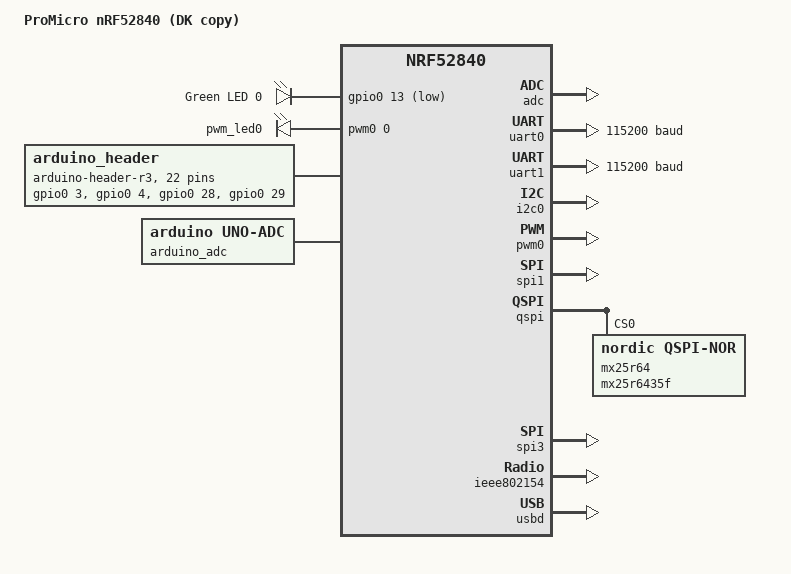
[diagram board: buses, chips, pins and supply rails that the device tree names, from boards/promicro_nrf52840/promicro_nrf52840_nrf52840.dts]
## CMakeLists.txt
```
cmake_minimum_required(VERSION 3.20.5)

find_package(Zephyr REQUIRED HINTS $ENV{ZEPHYR_BASE})
project(mcuboot_reset)


# Linker config for retained RAM
zephyr_linker_sources(SECTIONS src/reset/retained_ram.ld)

# Linker flag to wrap main(), allowing custom behavior
target_link_libraries(app PRIVATE "-Wl,--wrap=main")


FILE(GLOB app_sources src/*.c src/reset/reset_handler.c)
target_sources(app PRIVATE ${app_sources})
```

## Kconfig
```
# Copyright (c) 2021 Marcelo Aleksandravicius
# SPDX-License-Identifier: Apache-2.0

mainmenu "Promicro double-reset configs"


config DOUBLE_RESET_WINDOW_MS
	int "Double reset detection window in milliseconds"
	default 2000
	range 500 10000
	help
	  Time window in milliseconds to detect a double reset.


config DFU_LED_BLINK_PERIOD_MS
	int "LED blink period during DFU mode in milliseconds"
	default 100
	range 50 1000
	help
	  LED blink half-period in milliseconds during DFU mode.
	  Total blink period will be 2x this value.
	  Default 100ms = 5Hz blink rate (200ms total period).

config MAIN_WRAPPER_DELAY_MS
	int "Delay before calling real main() in milliseconds"
	default 12000
	range 0 60000
	help
	  Time to wait before calling the real main() function when using
	  the main wrapper. This allows the reset detection system to
	  complete its initialization and potentially enter DFU mode
	  before starting the main application logic.

source "Kconfig.zephyr"
```

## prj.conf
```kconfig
# =============================================================================
# BOOTLOADER AND FLASH
# =============================================================================
CONFIG_BOOTLOADER_MCUBOOT=y
CONFIG_FLASH=y
CONFIG_FLASH_MAP=y
CONFIG_STREAM_FLASH=y

# Disable QSPI to avoid JEDEC ID errors
CONFIG_NORDIC_QSPI_NOR=n

# =============================================================================
# MCUMGR CORE
# =============================================================================
CONFIG_MCUMGR=y
CONFIG_NET_BUF=y
CONFIG_ZCBOR=y
CONFIG_CRC=y
CONFIG_BASE64=y

# MCUMGR command groups
CONFIG_MCUMGR_GRP_IMG=y
CONFIG_MCUMGR_GRP_OS=y
CONFIG_MCUMGR_GRP_OS_TASKSTAT=y
CONFIG_MCUMGR_GRP_OS_MCUMGR_PARAMS=y
CONFIG_MCUMGR_GRP_STAT=y
CONFIG_MCUMGR_GRP_FS=y
CONFIG_MCUMGR_GRP_ZBASIC=y
CONFIG_MCUMGR_GRP_ZBASIC_STORAGE_ERASE=y

# =============================================================================
# MCUMGR TRANSPORT - BLUETOOTH
# =============================================================================
CONFIG_MCUMGR_TRANSPORT_BT=y
CONFIG_MCUMGR_TRANSPORT_BT_AUTHEN=n
CONFIG_MCUMGR_TRANSPORT_BT_CONN_PARAM_CONTROL=y
CONFIG_MCUMGR_TRANSPORT_BT_REASSEMBLY=y
CONFIG_MCUMGR_TRANSPORT_NETBUF_SIZE=2475
CONFIG_MCUMGR_TRANSPORT_WORKQUEUE_STACK_SIZE=4608

# =============================================================================
# MCUMGR TRANSPORT - UART/USB
# =============================================================================
CONFIG_MCUMGR_TRANSPORT_UART=y
CONFIG_USB_DEVICE_STACK=y
CONFIG_SERIAL=y
CONFIG_UART_LINE_CTRL=y
CONFIG_CONSOLE=y



# =============================================================================
# BLUETOOTH
# =============================================================================
CONFIG_BT=y
CONFIG_BT_DEVICE_NAME="Marcelo"
CONFIG_BT_PERIPHERAL=y
CONFIG_BT_GATT_DYNAMIC_DB=y
CONFIG_BT_MAX_CONN=2

# Bluetooth data packet optimization
CONFIG_BT_L2CAP_TX_MTU=498
CONFIG_BT_BUF_ACL_RX_SIZE=502
CONFIG_BT_BUF_ACL_TX_SIZE=502
CONFIG_BT_CTLR_DATA_LENGTH_MAX=251
CONFIG_BT_CTLR_LE_PING=n

# =============================================================================
# FILE SYSTEM
# =============================================================================
CONFIG_FILE_SYSTEM=y
CONFIG_FILE_SYSTEM_LITTLEFS=y

# =============================================================================
# MONITORING AND STATISTICS
# =============================================================================
CONFIG_IMG_MANAGER=y
CONFIG_THREAD_MONITOR=y
CONFIG_STATS=y
CONFIG_STATS_NAMES=y

# =============================================================================
# SYSTEM STACK SIZES
# =============================================================================
CONFIG_SYSTEM_WORKQUEUE_STACK_SIZE=2304
CONFIG_MAIN_STACK_SIZE=2048

# =============================================================================
# LOGGING AND DEBUG
# =============================================================================
CONFIG_LOG=y
# Reduce log level to remove Bluetooth info messages
# 0=OFF, 1=ERR, 2=WRN, 3=INF, 4=DBG
CONFIG_LOG_MAX_LEVEL=1
CONFIG_BOOT_BANNER=n
# Alternative: Disable specific log modules
# CONFIG_LOG_MODE_MINIMAL=y

# =============================================================================
# APPLICATION - CUSTOM CONFIGURATIONS
# =============================================================================
# Time window for double reset detection (default: 2000ms)
CONFIG_DOUBLE_RESET_WINDOW_MS=2000

# LED blink period during DFU mode (default: 100ms = 5Hz)
CONFIG_DFU_LED_BLINK_PERIOD_MS=100

# Delay before calling the real main() (default: 12000ms = 12s)
CONFIG_MAIN_WRAPPER_DELAY_MS=2000
```

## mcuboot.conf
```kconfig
# MCUBoot configuration for signature validation
CONFIG _BOOT_SIGNATURE_TYPE_RSA=y
# CONFIG_BOOT_SIGNATURE_KEY_FILE="/home/aleks/zephyrproject/mykeys/public-key.pem"
```

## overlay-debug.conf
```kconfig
# Essencial para identificar threads
CONFIG_THREAD_NAME=y

# Desabilita funcionalidades desnecessárias para reduzir tamanho
CONFIG_THREAD_ANALYZER=n
CONFIG_THREAD_MONITOR=n
CONFIG_MCUMGR_GRP_OS_TASKSTAT=n
CONFIG_MCUMGR_GRP_STAT=n
CONFIG_STATS=n
CONFIG_STATS_NAMES=n

# Stack protection mínimo
CONFIG_STACK_CANARIES=y

# Debug mínimo essencial para o crash
CONFIG_DEBUG_INFO=y
# CONFIG_EXCEPTION_STACK_TRACE=y
CONFIG_FAULT_DUMP=2



# Reduz verbosidade para economizar espaço
CONFIG_LOG_MAX_LEVEL=2

# Força stack trace mais verboso
CONFIG_EXCEPTION_STACK_TRACE=y
CONFIG_FAULT_DUMP=2
CONFIG_DEBUG_INFO=y

# Adiciona estas linhas para garantir stack trace:
CONFIG_THREAD_STACK_INFO=y
CONFIG_SYMTAB=y
CONFIG_KERNEL_LOG_LEVEL_ERR=y

# Debug para ver exatamente quando comandos chegam
CONFIG_BT_SMP_LOG_LEVEL_DBG=y

# Debug específico do grupo OS
CONFIG_MCUMGR_GRP_OS_LOG_LEVEL_DBG=y

# Aumenta o log para ver o processamento do echo
CONFIG_LOG_MAX_LEVEL=4
# Enable logging
CONFIG_LOG=y
CONFIG_MCUBOOT_UTIL_LOG_LEVEL_WRN=y
```

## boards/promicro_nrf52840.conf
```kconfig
# # USB stack
CONFIG_USB_DEVICE_STACK=y
CONFIG_SERIAL=y
CONFIG_USB_DEVICE_INITIALIZE_AT_BOOT=y
```

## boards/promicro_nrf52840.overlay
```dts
/ {
	
	leds {
		compatible = "gpio-leds";
		led_0: led_0 {
			gpios = <&gpio0 15 GPIO_ACTIVE_LOW>;
			label = "User LED";
		};
	};
	
	aliases {
		led0 = &led_0;
		uart0 = &uart0;
		// uart1 = &uart1;
	};

    //Direciona o console e shell para o CDC ACM
    // cdc_acm_uart0 é a serial da esquerda ACM1 (ndr52840 waveshare)
    //uart0 é a serial da direita = USB0
	chosen {
		zephyr,console = &cdc_acm_uart0;
		zephyr,shell-uart = &cdc_acm_uart0;
        zephyr,uart-mcumgr = &cdc_acm_uart0;
	};


};

&uart0 {
    status = "okay";
};

&uart1 {
    status = "okay";
};


//O promicro/ tem o conector usb, isso é necessário para o CDC ACM funcionar
&usbd {
    cdc_acm_uart0: cdc_acm_uart0 {
        compatible = "zephyr,cdc-acm-uart";
        label = "CDC_ACM_0";
    };
};
```

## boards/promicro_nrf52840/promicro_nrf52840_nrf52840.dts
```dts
/***
 * Generated by copying nrf52840dk_nrf52840.dts and adapting for promicro_nrf52840
 */

/dts-v1/;
#include <nordic/nrf52840_qiaa.dtsi>
#include "promicro_nrf52840-pinctrl.dtsi"
#include <zephyr/dt-bindings/input/input-event-codes.h>

/ {
	model = "ProMicro nRF52840 (DK copy)";
	compatible = "nordic,nrf52840-dk-nrf52840";

	chosen {
		zephyr,console = &uart0;
		zephyr,shell-uart = &uart0;
		zephyr,uart-mcumgr = &uart0;
		zephyr,bt-mon-uart = &uart0;
		zephyr,bt-c2h-uart = &uart0;
		zephyr,sram = &sram0;
		zephyr,flash = &flash0;
		zephyr,code-partition = &slot0_partition;
		zephyr,ieee802154 = &ieee802154;
	};

	leds {
		compatible = "gpio-leds";
		led0: led_0 {
			gpios = <&gpio0 13 GPIO_ACTIVE_LOW>;
			label = "Green LED 0";
		};
		// led1: led_1 {
		// 	gpios = <&gpio0 14 GPIO_ACTIVE_LOW>;
		// 	label = "Green LED 1";
		// };
		// led2: led_2 {
		// 	gpios = <&gpio0 15 GPIO_ACTIVE_LOW>;
		// 	label = "Green LED 2";
		// };
		// led3: led_3 {
		// 	gpios = <&gpio0 16 GPIO_ACTIVE_LOW>;
		// 	label = "Green LED 3";
		// };
	};

	pwmleds {
		compatible = "pwm-leds";
		pwm_led0: pwm_led_0 {
			pwms = <&pwm0 0 PWM_MSEC(20) PWM_POLARITY_INVERTED>;
		};
	};

	// buttons {
	// 	compatible = "gpio-keys";
	// 	button0: button_0 {
	// 		gpios = <&gpio0 11 (GPIO_PULL_UP | GPIO_ACTIVE_LOW)>;
	// 		label = "Push button switch 0";
	// 		zephyr,code = <INPUT_KEY_0>;
	// 	};
	// 	button1: button_1 {
	// 		gpios = <&gpio0 12 (GPIO_PULL_UP | GPIO_ACTIVE_LOW)>;
	// 		label = "Push button switch 1";
	// 		zephyr,code = <INPUT_KEY_1>;
	// 	};
	// 	button2: button_2 {
	// 		gpios = <&gpio0 24 (GPIO_PULL_UP | GPIO_ACTIVE_LOW)>;
	// 		label = "Push button switch 2";
	// 		zephyr,code = <INPUT_KEY_2>;
	// 	};
	// 	button3: button_3 {
	// 		gpios = <&gpio0 25 (GPIO_PULL_UP | GPIO_ACTIVE_LOW)>;
	// 		label = "Push button switch 3";
	// 		zephyr,code = <INPUT_KEY_3>;
	// 	};
	// };

	arduino_header: connector {
		compatible = "arduino-header-r3";
		#gpio-cells = <2>;
		gpio-map-mask = <0xffffffff 0xffffffc0>;
		gpio-map-pass-thru = <0 0x3f>;
		gpio-map = <0 0 &gpio0 3 0>,	/* A0 */
			   <1 0 &gpio0 4 0>,	/* A1 */
			   <2 0 &gpio0 28 0>,	/* A2 */
			   <3 0 &gpio0 29 0>,	/* A3 */
			   <4 0 &gpio0 30 0>,	/* A4 */
			   <5 0 &gpio0 31 0>,	/* A5 */
			   <6 0 &gpio1 1 0>,	/* D0 */
			   <7 0 &gpio1 2 0>,	/* D1 */
			   <8 0 &gpio1 3 0>,	/* D2 */
			   <9 0 &gpio1 4 0>,	/* D3 */
			   <10 0 &gpio1 5 0>,	/* D4 */
			   <11 0 &gpio1 6 0>,	/* D5 */
			   <12 0 &gpio1 7 0>,	/* D6 */
			   <13 0 &gpio1 8 0>,	/* D7 */
			   <14 0 &gpio1 10 0>,	/* D8 */
			   <15 0 &gpio1 11 0>,	/* D9 */
			   <16 0 &gpio1 12 0>,	/* D10 */
			   <17 0 &gpio1 13 0>,	/* D11 */
			   <18 0 &gpio1 14 0>,	/* D12 */
			   <19 0 &gpio1 15 0>,	/* D13 */
			   <20 0 &gpio0 26 0>,	/* D14 */
			   <21 0 &gpio0 27 0>;	/* D15 */
	};

	arduino_adc: analog-connector {
		compatible = "arduino,uno-adc";
		#io-channel-cells = <1>;
		io-channel-map = <0 &adc 1>,	/* A0 = P0.3 = AIN1 */
				 <1 &adc 2>,	/* A1 = P0.4 = AIN2 */
				 <2 &adc 4>,	/* A2 = P0.28 = AIN4 */
				 <3 &adc 5>,	/* A3 = P0.29 = AIN5 */
				 <4 &adc 6>,	/* A4 = P0.30 = AIN6 */
				 <5 &adc 7>;	/* A5 = P0.31 = AIN7 */
	};

	/* These aliases are provided for compatibility with samples */
	aliases {
		led0 = &led0;
		// led1 = &led1;
		// led2 = &led2;
		// led3 = &led3;
		pwm-led0 = &pwm_led0;
		// sw0 = &button0;
		// sw1 = &button1;
		// sw2 = &button2;
		// sw3 = &button3;
		bootloader-led0 = &led0;
		// mcuboot-button0 = &button0;
		mcuboot-led0 = &led0;
		watchdog0 = &wdt0;
	};
};

&adc {
	status = "okay";
};

&uicr {
	gpio-as-nreset;
};

&gpiote {
	status = "okay";
};

&gpio0 {
	status = "okay";
	gpio-reserved-ranges = <0 2>, <6 1>, <8 3>, <17 7>;
	gpio-line-names = "XL1", "XL2", "AREF", "A0", "A1", "RTS", "TXD",
		"CTS", "RXD", "NFC1", "NFC2", "BUTTON1", "BUTTON2", "LED1",
		"LED2", "LED3", "LED4", "QSPI CS", "RESET", "QSPI CLK",
		"QSPI DIO0", "QSPI DIO1", "QSPI DIO2", "QSPI DIO3","BUTTON3",
		"BUTTON4", "SDA", "SCL", "A2", "A3", "A4", "A5";
};

&gpio1 {
	status = "okay";
	gpio-line-names = "", "D0", "D1", "D2", "D3", "D4", "D5", "D6",
		"D7", "", "D8", "D9", "D10", "D11", "D12", "D13";
};

&uart0 {
	compatible = "nordic,nrf-uarte";
	status = "okay";
	current-speed = <115200>;
	pinctrl-0 = <&uart0_default>;
	pinctrl-1 = <&uart0_sleep>;
	pinctrl-names = "default", "sleep";
};

arduino_serial: &uart1 {
	current-speed = <115200>;
	pinctrl-0 = <&uart1_default>;
	pinctrl-1 = <&uart1_sleep>;
	pinctrl-names = "default", "sleep";
};

arduino_i2c: &i2c0 {
	compatible = "nordic,nrf-twi";
	status = "okay";
	pinctrl-0 = <&i2c0_default>;
	pinctrl-1 = <&i2c0_sleep>;
	pinctrl-names = "default", "sleep";
};

&i2c1 {
	compatible = "nordic,nrf-twi";
	/* Cannot be used together with spi1. */
	/* status = "okay"; */
	pinctrl-0 = <&i2c1_default>;
	pinctrl-1 = <&i2c1_sleep>;
	pinctrl-names = "default", "sleep";
};

&pwm0 {
	status = "okay";
	pinctrl-0 = <&pwm0_default>;
	pinctrl-1 = <&pwm0_sleep>;
	pinctrl-names = "default", "sleep";
};

&spi0 {
	compatible = "nordic,nrf-spi";
	/* Cannot be used together with i2c0. */
	/* status = "okay"; */
	pinctrl-0 = <&spi0_default>;
	pinctrl-1 = <&spi0_sleep>;
	pinctrl-names = "default", "sleep";
};

&spi1 {
	compatible = "nordic,nrf-spi";
	status = "okay";
	pinctrl-0 = <&spi1_default>;
	pinctrl-1 = <&spi1_sleep>;
	pinctrl-names = "default", "sleep";
};

&spi2 {
	compatible = "nordic,nrf-spi";
	status = "disabled";
	pinctrl-0 = <&spi2_default>;
	pinctrl-1 = <&spi2_sleep>;
	pinctrl-names = "default", "sleep";
};

&qspi {
	status = "okay";
	pinctrl-0 = <&qspi_default>;
	pinctrl-1 = <&qspi_sleep>;
	pinctrl-names = "default", "sleep";
	mx25r64: mx25r6435f@0 {
		compatible = "nordic,qspi-nor";
		reg = <0>;
		/* MX25R64 supports only pp and pp4io */
		writeoc = "pp4io";
		/* MX25R64 supports all readoc options */
		readoc = "read4io";
		sck-frequency = <8000000>;
		jedec-id = [c2 28 17];
		sfdp-bfp = [
			e5 20 f1 ff  ff ff ff 03  44 eb 08 6b  08 3b 04 bb
			ee ff ff ff  ff ff 00 ff  ff ff 00 ff  0c 20 0f 52
			10 d8 00 ff  23 72 f5 00  82 ed 04 cc  44 83 68 44
			30 b0 30 b0  f7 c4 d5 5c  00 be 29 ff  f0 d0 ff ff
		];
		size = <67108864>;
		has-dpd;
		t-enter-dpd = <10000>;
		t-exit-dpd = <35000>;
	};
};

arduino_spi: &spi3 {
	status = "okay";
	cs-gpios = <&arduino_header 16 GPIO_ACTIVE_LOW>; /* D10 */
	pinctrl-0 = <&spi3_default>;
	pinctrl-1 = <&spi3_sleep>;
	pinctrl-names = "default", "sleep";
};

&ieee802154 {
	status = "okay";
};

&flash0 {

	partitions {
		compatible = "fixed-partitions";
		#address-cells = <1>;
		#size-cells = <1>;

		boot_partition: partition@0 {
			label = "mcuboot";
			reg = <0x00000000 0x0000C000>;
		};
		slot0_partition: partition@c000 {
			label = "image-0";
			reg = <0x0000C000 0x00076000>;
		};
		slot1_partition: partition@82000 {
			label = "image-1";
			reg = <0x00082000 0x00076000>;
		};

		/*
		 * The flash starting at 0x000f8000 and ending at
		 * 0x000fffff is reserved for use by the application.
		 */

		/*
		 * Storage partition will be used by FCB/LittleFS/NVS
		 * if enabled.
		 */
		storage_partition: partition@f8000 {
			label = "storage";
			reg = <0x000f8000 0x00008000>;
		};
	};
};

zephyr_udc0: &usbd {
	compatible = "nordic,nrf-usbd";
	status = "okay";
};
```

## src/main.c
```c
#include <zephyr/device.h>
#include <zephyr/drivers/gpio.h>
#include <zephyr/kernel.h>


// LED configuration
#define LED_NODE DT_ALIAS(led0)
#if DT_NODE_HAS_STATUS(LED_NODE, okay)
static const struct gpio_dt_spec led = GPIO_DT_SPEC_GET(LED_NODE, gpios);
#else
#error "Unsupported board: led0 alias is not defined"
#endif

int main(void) {
  // Test crash functionality
//   k_panic();


  // LED setup and blink loop
  int ret;
  bool led_state = false;

  // Check if LED device is ready
  if (!device_is_ready(led.port)) {
    printk("Error: LED device %s is not ready\n", led.port->name);
    return -ENODEV;
  }

  // Configure LED GPIO
  ret = gpio_pin_configure_dt(&led, GPIO_OUTPUT_ACTIVE);
  if (ret < 0) {
    printk("Error: Failed to configure LED GPIO\n");
    return ret;
  }

  printk("(main) LED configured on pin %d. Starting blink...\n", led.pin);

  // Main LED blink loop
  while (1) {
    ret = gpio_pin_toggle_dt(&led);
    if (ret < 0) {
      printk("Error: Failed to toggle LED\n");
      return ret;
    }
    
    led_state = !led_state;
    // printk("LED %s\n", led_state ? "ON" : "OFF");
    
    k_msleep(1000);
  }
  
  return 0;
}
```
